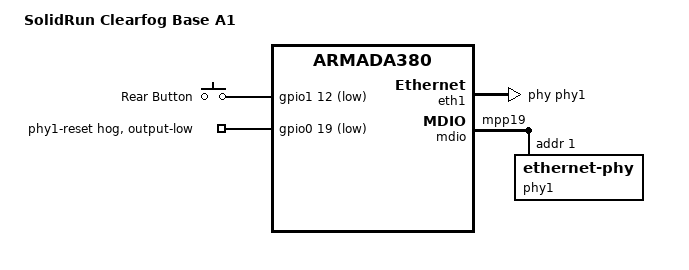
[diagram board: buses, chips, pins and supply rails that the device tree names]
/*
 * Device Tree file for SolidRun Clearfog Base revision A1 rev 2.0 (88F6828)
 *
 *  Copyright (C) 2015 Russell King
 *
 * This board is in development; the contents of this file work with
 * the A1 rev 2.0 of the board, which does not represent final
 * production board.  Things will change, don't expect this file to
 * remain compatible info the future.
 *
 * This file is dual-licensed: you can use it either under the terms
 * of the GPL or the X11 license, at your option. Note that this dual
 * licensing only applies to this file, and not this project as a
 * whole.
 *
 *  a) This file is free software; you can redistribute it and/or
 *     modify it under the terms of the GNU General Public License
 *     version 2 as published by the Free Software Foundation.
 *
 *     This file is distributed in the hope that it will be useful,
 *     but WITHOUT ANY WARRANTY; without even the implied warranty of
 *     MERCHANTABILITY or FITNESS FOR A PARTICULAR PURPOSE.  See the
 *     GNU General Public License for more details.
 *
 * Or, alternatively,
 *
 *  b) Permission is hereby granted, free of charge, to any person
 *     obtaining a copy of this software and associated documentation
 *     files (the "Software"), to deal in the Software without
 *     restriction, including without limitation the rights to use,
 *     copy, modify, merge, publish, distribute, sublicense, and/or
 *     sell copies of the Software, and to permit persons to whom the
 *     Software is furnished to do so, subject to the following
 *     conditions:
 *
 *     The above copyright notice and this permission notice shall be
 *     included in all copies or substantial portions of the Software.
 *
 *     THE SOFTWARE IS PROVIDED "AS IS", WITHOUT WARRANTY OF ANY KIND,
 *     EXPRESS OR IMPLIED, INCLUDING BUT NOT LIMITED TO THE WARRANTIES
 *     OF MERCHANTABILITY, FITNESS FOR A PARTICULAR PURPOSE AND
 *     NONINFRINGEMENT. IN NO EVENT SHALL THE AUTHORS OR COPYRIGHT
 *     HOLDERS BE LIABLE FOR ANY CLAIM, DAMAGES OR OTHER LIABILITY,
 *     WHETHER IN AN ACTION OF CONTRACT, TORT OR OTHERWISE, ARISING
 *     FROM, OUT OF OR IN CONNECTION WITH THE SOFTWARE OR THE USE OR
 *     OTHER DEALINGS IN THE SOFTWARE.
 */

/dts-v1/;
#include "armada-388-clearfog.dtsi"

/ {
	model = "SolidRun Clearfog Base A1";
	compatible = "solidrun,clearfog-base-a1",
		"solidrun,clearfog-a1", "marvell,armada388",
		"marvell,armada385", "marvell,armada380";

	gpio-keys {
		compatible = "gpio-keys";
		pinctrl-0 = <&rear_button_pins>;
		pinctrl-names = "default";

		button_0 {
			/* The rear SW3 button */
			label = "Rear Button";
			gpios = <&gpio1 12 GPIO_ACTIVE_LOW>;
			linux,can-disable;
			linux,code = <BTN_0>;
		};
	};
};

&eth1 {
	phy = <&phy1>;
};

&gpio0 {
	phy1_reset {
		gpio-hog;
		gpios = <19 GPIO_ACTIVE_LOW>;
		output-low;
		line-name = "phy1-reset";
	};
};

&mdio {
	pinctrl-0 = <&mdio_pins &microsom_phy_clk_pins &clearfog_phy_pins>;
	phy1: ethernet-phy@1 {
		/*
		 * Annoyingly, the marvell phy driver configures the LED
		 * register, rather than preserving reset-loaded setting.
		 * We undo that rubbish here.
		 */
		marvell,reg-init = <3 16 0 0x101e>;
		reg = <1>;
	};
};

&pinctrl {
	/* phy1 reset */
	clearfog_phy_pins: clearfog-phy-pins {
		marvell,pins = "mpp19";
		marvell,function = "gpio";
	};
	rear_button_pins: rear-button-pins {
		marvell,pins = "mpp44";
		marvell,function = "gpio";
	};
};
